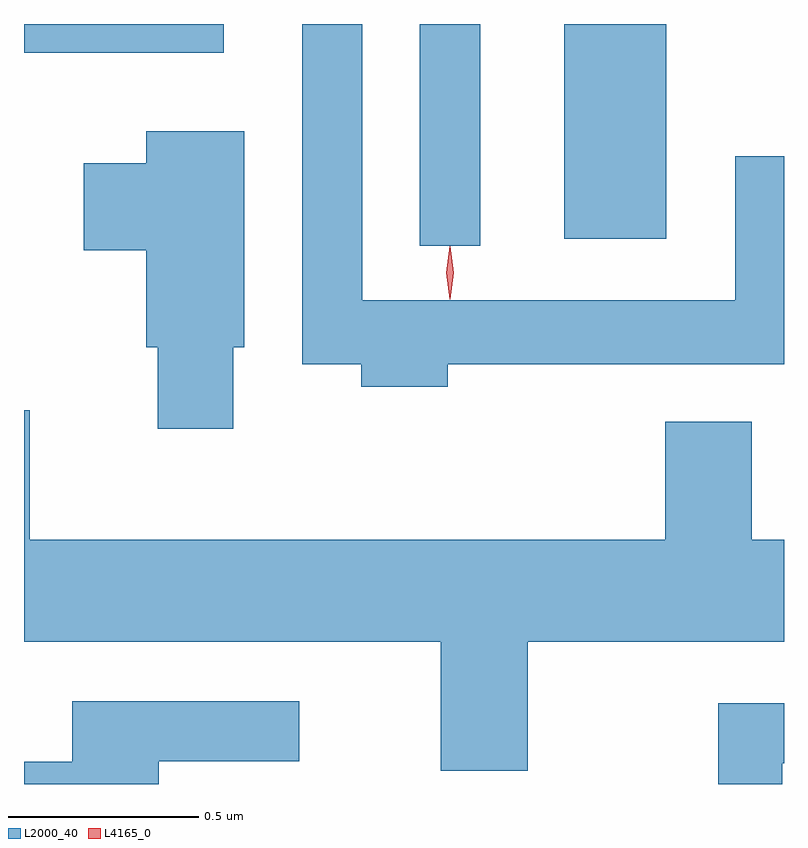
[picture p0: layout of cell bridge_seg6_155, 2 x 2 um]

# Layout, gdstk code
import gdstk
lib = gdstk.Library(unit=1e-6, precision=1e-09)
def R(c, l, rs):  # rectangles x0, y0, x1, y1
    for r in rs: c.add(gdstk.rectangle(r[:2], r[2:], *l))
def P(c, l, *ps):  # polygons
    for p in ps: c.add(gdstk.Polygon(p, *l))
L2000_40 = (2000, 40)
L4165_0 = (4165, 0)

bridge_seg6_155 = lib.new_cell('bridge_seg6_155')
R(bridge_seg6_155, L2000_40, [(1136.916,1566.618,1137.074,1567.201), (1137.296,1566.636,1137.564,1567.201), (1135.874,1567.126,1136.399,1567.201)])
P(bridge_seg6_155, L2000_40, [(1136.989,1566.306),(1137.874,1566.306),(1137.874,1566.853),(1137.746,1566.853),(1137.746,1566.474),(1136.764,1566.474),(1136.764,1567.201),(1136.606,1567.201),(1136.606,1566.306),(1136.761,1566.306),(1136.761,1566.246),(1136.989,1566.246)],
  [(1136.424,1566.351),(1136.454,1566.351),(1136.454,1566.919),(1136.196,1566.919),(1136.196,1566.834),(1136.031,1566.834),(1136.031,1566.606),(1136.196,1566.606),(1136.196,1566.351),(1136.226,1566.351),(1136.226,1566.136),(1136.424,1566.136)],
  [(1137.199,1565.576),(1137.874,1565.576),(1137.874,1565.844),(1137.789,1565.844),(1137.789,1566.154),(1137.561,1566.154),(1137.561,1565.844),(1135.889,1565.844),(1135.889,1566.184),(1135.874,1566.184),(1135.874,1565.576),(1136.971,1565.576),(1136.971,1565.236),(1137.199,1565.236)],
  [(1136.229,1565.261),(1136.598,1565.261),(1136.598,1565.419),(1136.001,1565.419),(1136.001,1565.259),(1135.874,1565.259),(1135.874,1565.201),(1136.229,1565.201)],
  [(1137.869,1565.256),(1137.874,1565.256),(1137.874,1565.414),(1137.701,1565.414),(1137.701,1565.201),(1137.869,1565.201)])
P(bridge_seg6_155, L4165_0, [(1136.995,1566.48),(1136.995,1566.48),(1136.985,1566.546),(1136.995,1566.612),(1136.995,1566.613),(1136.996,1566.612),(1137.005,1566.546),(1136.996,1566.48)],
  [(1136.995,1566.477),(1136.995,1566.477),(1136.985,1566.547),(1136.995,1566.616),(1136.995,1566.616),(1136.996,1566.616),(1137.005,1566.547),(1136.996,1566.477)])

lib.write_gds('bridge_seg6_155.gds')
